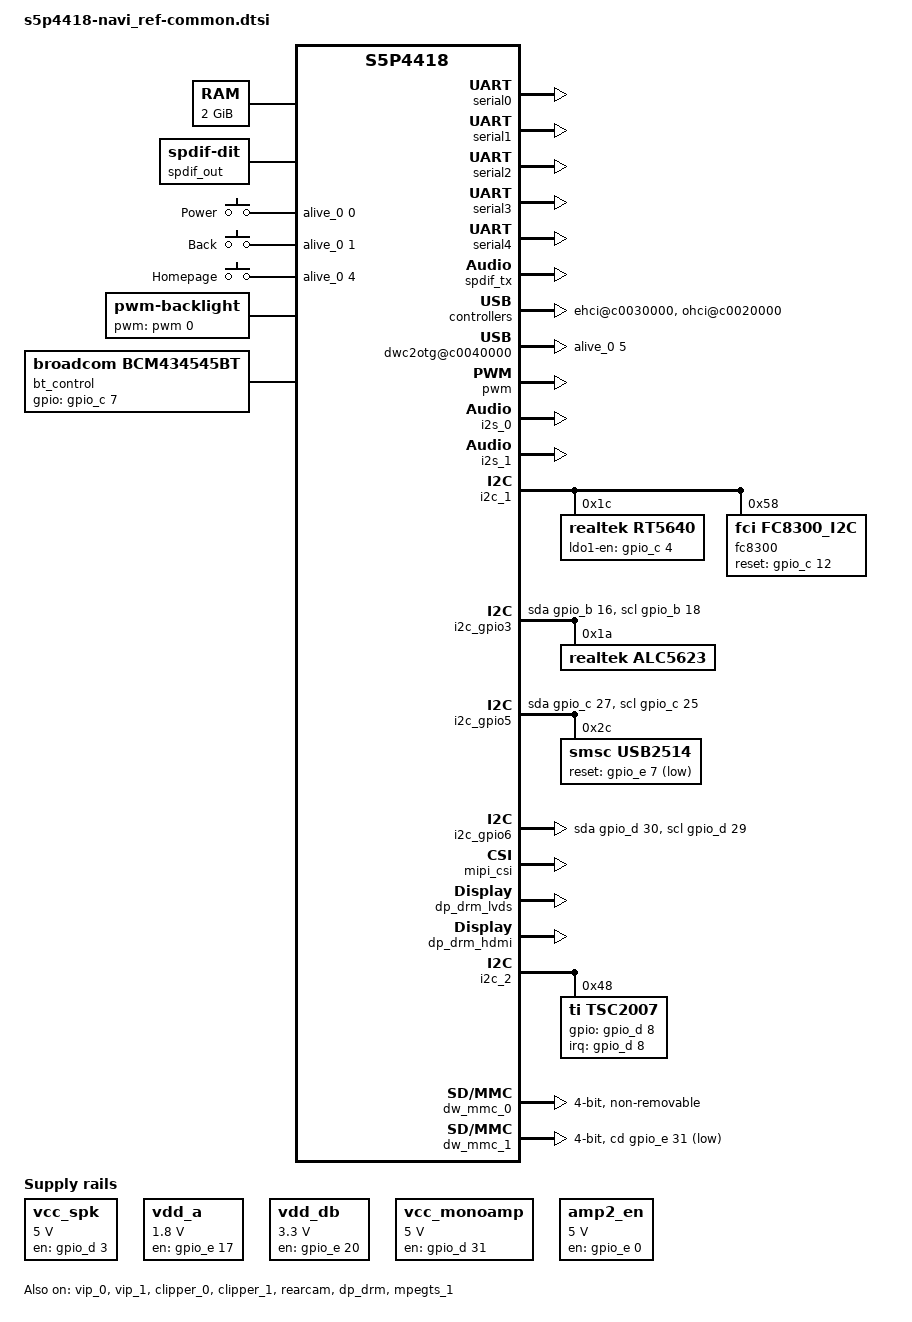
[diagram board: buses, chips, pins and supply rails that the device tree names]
/*
 * Copyright (C) 2016  Nexell Co., Ltd.
 * Author: Youngbok, Park <ybpark@nexell.co.kr>
 *
 * This program is free software; you can redistribute it and/or
 * modify it under the terms of the GNU General Public License
 * as published by the Free Software Foundation; either version 2
 * of the License, or (at your option) any later version.
 *
 * This program is distributed in the hope that it will be useful,
 * but WITHOUT ANY WARRANTY; without even the implied warranty of
 * MERCHANTABILITY or FITNESS FOR A PARTICULAR PURPOSE.  See the
 * GNU General Public License for more details.
 *
 * You should have received a copy of the GNU General Public License
 * along with this program.  If not, see <http://www.gnu.org/licenses/>.
 */

#include <dt-bindings/interrupt-controller/irq.h>
#include <dt-bindings/gpio/gpio.h>
#include <dt-bindings/input/input.h>
#include "nxp4330.dtsi"

/ {
	memory {
		device_type = "memory";
		reg = <0x40000000 0x80000000>;
	};

	psci {
		compatible = "arm,psci-0.2";
		method = "smc";
	};

	aliases {
		i2c3 = &i2c_gpio3;
		i2c5 = &i2c_gpio5;
		i2c6 = &i2c_gpio6;
		i2c7 = &i2c_gpio7;
	};

	nx-v4l2 {
		status = "okay";
	};

	soc {
		#include "s5p4418-pinctrl.dtsi"
		clocks {
			uart3:uart@c00ab000 { clock-frequency = <147500000>; };
			uart1:uart@c00a8000 { clock-frequency = <100000000>; };
			vip0:vip@c00c1000 { clock-frequency = <300000000>; };
			vip1:vip@c00c2000 { src-force = <5>; };
			pwm0:pwm0@c00ba000 {
				clk-input = <I_PLL2>;
				clock-frequency = <10000000>;
			};
			pwm1:pwm1@c00ba000 {
				clk-input = <I_PLL2>;
				clock-frequency = <10000000>;
			};
			pwm2:pwm2@c00be000 {
				clk-input = <I_PLL2>;
				clock-frequency = <10000000>;
			};
			pwm3:pwm3@c00be000 {
				clk-input = <I_PLL2>;
				clock-frequency = <10000000>;
			};
		};

		l2:l2-cache-controller@cf000000 {
			arm,prefetch-offset = <7>;
			prefetch-data = <1>;
			prefetch-instr = <1>;
			arm,tag-latency = <3 4 3>;
			arm,data-latency = <3 4 3>;
		};

		serial0:serial@c00a1000 {
			dmas = <&pl08xdma0 2 0>, <&pl08xdma0 3 0>;
			dma-names = "tx", "rx";
			status ="okay";
		};

		serial1:serial@c00a0000 {
			dmas = <&pl08xdma0 0 0>, <&pl08xdma0 1 0>;
			dma-names = "tx", "rx";
			pinctrl-0 = <&serial1_pin>, <&serial1_flow_cts>,
			    <&serial1_flow_rts>;
			status ="okay";
		};

		serial2:serial@c00a2000 {
			dmas = <&pl08xdma0 4 0>, <&pl08xdma0 5 0>;
			dma-names = "tx", "rx";
			status ="okay";
		};

		serial3:serial@c00a3000 {
			status ="okay";
		};

		serial4:serial@c006d000 {
			status ="okay";
		};

		amba {
			pl08xdma0:pl08xdma@c0000000 {
				use_isr;

				ch12 {
					slave_wait_flush_dma;
				};

				ch13 {
					slave_wait_flush_dma;
				};

				ch14 {
					slave_wait_flush_dma;
				};

				ch15 {
					slave_wait_flush_dma;
				};
			};

			pl08xdma1:pl08xdma@c0001000 {
				use_isr;

				ch0 {
					slave_wait_flush_dma;
				};

				ch1 {
					slave_wait_flush_dma;
				};
			};
		};

		spdif_tx: spdiftx@c0059000 {
			#sound-dai-cells = <1>;
			pcm-bit = <16>;
			sample_rate = <48000>;
			status = "okay";
		};

		watchdog@c0019000 {
			status = "okay";
		};

		rtc@c0010c00 {
			status = "okay";
		};

		nexell_usbphy: nexell-usbphy@c0012000 {
			status = "okay";
		};

		ehci@c0030000 {
			status = "okay";
			port@0 {
				status = "okay";
			};
		};

		ohci@c0020000 {
			status = "okay";
			port@0 {
				status = "okay";
			};
		};

		dwc2otg@c0040000 {
			gpios = <&alive_0 5 0>;
			status = "okay";
		};

		pwm:pwm@c0018000 {
			clock-names = "timers", "pwm-tclk0", "pwm-tclk1";
			clocks =  <&pclk>, <&pwm0>, <&pwm1>;
			pinctrl-names = "default";
			pinctrl-0 = <&pwm0_pin &pwm1_pin>;
			samsung,pwm-outputs = <0>, <1>;
			status = "okay";
		};

		i2s_0:i2s@c0055000 {
			#sound-dai-cells = <1>;
			master-mode = <1>;
			mclk-in = <0>;
			trans-mode = <0>;
			frame-bit = <32>;
			sample-rate = <48000>;
			pre-supply-mclk = <1>;
			status = "okay";
		};

		i2s_1:i2s@c0056000 {
			#sound-dai-cells = <1>;
			master-mode = <1>;
			mclk-in = <0>;
			trans-mode = <0>;
			frame-bit = <32>;
			sample-rate = <48000>;
			pre-supply-mclk = <1>;
			status = "okay";
		};

		pinctrl@C0010000 {
			key_power:key_power {
				nexell,pins = "alive-0";
				nexell,pin-function = <0>;
				nexell,pin-pull = <1>;
				nexell,pin-strength = <0>;
			};

			key_back:key_back {
				nexell,pins = "alive-1";
				nexell,pin-function = <0>;
				nexell,pin-pull = <1>;
				nexell,pin-strength = <0>;
			};

			key_homepage:key_homepage {
				nexell,pins = "alive-4";
				nexell,pin-function = <0>;
				nexell,pin-pull = <1>;
				nexell,pin-strength = <0>;
			};

			toutchpanel_irq: touchpanel-irq {
				nexell,pins = "gpiod-8";
				nexell,pin-function = <0>;
				nexell,pin-pull = <1>;
				nexell,pin-strength = <0>;
			};
			bt_cfg_en:bt_cfg_en {
				nexell,pins = "gpioc-7";
				nexell,pin-function = <1>;
				nexell,pin-pull = <2>;
				nexell,pin-strength = <0>;
			};
		};

		i2c_1:i2c@c00a5000 {
			#address-cells = <1>;
			#size-cells = <0>;
			status = "okay";

			rt5640: rt5640@1c {
				#sound-dai-cells = <0>;
				compatible = "realtek,rt5640";
				reg = <0x1c>;
				realtek,ldo1-en-gpios =
				    <&gpio_c 4 GPIO_ACTIVE_HIGH>;
			};
		};

		scaler@c0066000 {
			status = "okay";
		};
	};	/*** soc ***/

	vcc_spk: regulator-fix@0 {
		compatible = "regulator-fixed";

		regulator-name = "SPK Vcc";
		regulator-min-microvolt = <5000000>;
		regulator-max-microvolt = <5000000>;
		regulator-boot-on;
		regulator-always-on;

		gpio = <&gpio_d 3 GPIO_ACTIVE_HIGH>;
		enable-active-high;
	};

	vdd_a: regulator-fix@1 {
		compatible = "regulator-fixed";

		regulator-name = "A Vdd";
		regulator-min-microvolt = <1800000>;
		regulator-max-microvolt = <1800000>;
		regulator-boot-on;
		regulator-always-on;

		gpio = <&gpio_e 17 GPIO_ACTIVE_HIGH>;
		enable-active-high;
	};

	vdd_db: regulator-fix@2 {
		compatible = "regulator-fixed";

		regulator-name = "DB Vdd";
		regulator-min-microvolt = <3300000>;
		regulator-max-microvolt = <3300000>;
		regulator-boot-on;
		regulator-always-on;

		gpio = <&gpio_e 20 GPIO_ACTIVE_HIGH>;
		enable-active-high;
	};

	vcc_monoamp: regulator-fix@3 {
		compatible = "regulator-fixed";

		regulator-name = "MONOAMP Vcc";
		regulator-min-microvolt = <5000000>;
		regulator-max-microvolt = <5000000>;
		regulator-boot-on;
		regulator-always-on;

		gpio = <&gpio_d 31 GPIO_ACTIVE_HIGH>;
		enable-active-high;
	};

	amp2_en: regulator-fix@4 {
		compatible = "regulator-fixed";

		regulator-name = "AMP2 EN";
		regulator-min-microvolt = <5000000>;
		regulator-max-microvolt = <5000000>;
		regulator-boot-on;
		regulator-always-on;

		gpio = <&gpio_e 0 GPIO_ACTIVE_HIGH>;
		enable-active-high;
	};

	i2c_gpio3: i2c@3 {
		compatible = "i2c-gpio";
		gpios = <&gpio_b 16 0 /* sda */
		    &gpio_b 18 0 /* scl */>;
		i2c-gpio,delay-us = <1>;
		#address-cells = <1>;
		#size-cells = <0>;

		alc5623: alc5623@1a {
			#sound-dai-cells = <0>;
			compatible = "realtek,alc5623";
			reg = <0x1a>;
		};
	};

	i2c_gpio5: i2c@5 {
		compatible = "i2c-gpio";
		gpios = <&gpio_c 27 0 /* sda */
		    &gpio_c 25 0 /* scl */
		    >;
		i2c-gpio,delay-us = <100>;
		#address-cells = <1>;
		#size-cells = <0>;

		usb2514: usb2514@2c {
			compatible = "smsc,usb2514";
			reg = <0x2c>;
			reset-gpios = <&gpio_e 7 1>;
			initial-mode = <1>;
		};
	};

	i2c_gpio6: i2c@6 {
		compatible = "i2c-gpio";
		gpios = <&gpio_d 30 0 /* sda */
		    &gpio_d 29 0 /* scl */
		    >;
		i2c-gpio,delay-us = <100>;
		#address-cells = <1>;
		#size-cells = <0>;
	};

	i2c_gpio7: i2c@7 {
		status = "disabled";
	};

	sound {
		compatible = "simple-audio-card";
		simple-audio-card,name = "s5p4418 navi_ref Audio";
		simple-audio-card,mclk-fs = <256>;
		simple-audio-card,widgets =
		    "Headphone", "Out Jack",
		    "Microphone", "In Jack";
		simple-audio-card,routing =
		    "Out Jack", "HPOL",
		    "Out Jack", "HPOR",
		    "IN2P", "In Jack",
		    "IN2P", "In Jack";
		status = "okay";

		simple-audio-card,dai-link@0 {
		    format = "i2s";
		    cpu {
			sound-dai = <&i2s_0 0>;
		    };

		    codec {
			sound-dai = <&rt5640>;
		    };
		};

		simple-audio-card,dai-link@1 {
		    format = "i2s";
		    cpu {
			sound-dai = <&i2s_1 0>;
		    };

		    codec {
			sound-dai = <&alc5623>;
		    };
		};

		simple-audio-card,dai-link@2 {
		    format = "spdif";
		    cpu {
			sound-dai = <&spdif_tx 0>;
		    };

		    codec {
			sound-dai = <&spdif_out>;
		    };
		};
	};

	spdif_out: spdif-out {
		#sound-dai-cells = <0>;
		compatible = "linux,spdif-dit";
	};

	gpio_key: gpio_keys {
		compatible = "gpio-keys";
		#address-cells = <1>;
		#size-cells = <0>;
		pinctrl-names = "default";
		pinctrl-0 = <&key_power &key_back &key_homepage>;

		power {
			label = "Power";
			gpios = <&alive_0 0 0>;
			linux,code = <KEY_POWER>;
			gpio-key,wakeup;
		};

		back {
			label = "Back";
			gpios = <&alive_0 1 0>;
			linux,code = <KEY_BACK>;
		};

		homepage {
			label = "Homepage";
			gpios = <&alive_0 4 0>;
			linux,code = <KEY_HOMEPAGE>;
		};
	};

	nexell-ion@0 {
		compatible = "nexell,ion";

		heap_sys_user@0 {
			heap-type = "ion_system";
		};

		heap_sys_contig@0 {
			heap-type = "ion_system_contig";
		};

		heap_dma@0 {
			heap-type = "ion_dma";
		};
	};

	backlight: pwm-backlight {
		compatible = "pwm-backlight";
		pwms = <&pwm 0 20000 1>;
		pwm-names = "pwm-backlight";

		brightness-levels = <30 31 32 33 34 35 36 37 38 39
				     40 41 42 43 44 45 46 47 48 49
				     50 51 52 53 54 55 56 57 58 59
				     60 61 62 63 64 65 66 67 68 69
				     70 71 72 73 74 75 76 77 78 79
				     80 81 82 83 84 85 86 87 88 89
				     90>;
		default-brightness-level = <45>;
		status = "okay";
	};

	bt_control {
		compatible = "broadcom,bcm434545bt";
		gpios = <&gpio_c 7 0>;   /* GPIOC7 = BT_EN, output */
		pinctrl-names = "default";
		pinctrl-0 = <&bt_cfg_en>;
		status = "okay";
	};
};

&vip_0 {
	status = "okay";
};

&vip_1 {
	status = "okay";
};

&mipi_csi {
	data_lane = <2>;
	pllval = <750>;
	hssettle = <7>;
	status = "okay";
};

&clipper_0 {
	interface_type = <NX_CAPTURE_INTERFACE_MIPI_CSI>;
	gpios = <&gpio_b 23 0>;
	data_order = <NX_VIN_CBY0CRY1>;
	port = <1>;
	external_sync = <1>;
	interlace = <0>;
	status = "okay";

	sensor {
		type = <NX_CAPTURE_SENSOR_I2C>;
		i2c_name = "tw9992";
		i2c_adapter = <3>;
		addr = <0x3d>;
	};

	power {
		enable_seq = <
		NX_ACTION_START NX_ACTION_TYPE_GPIO 0 1 1 0 10 1 10 NX_ACTION_END
		>;

		disable_seq = <
		NX_ACTION_START NX_ACTION_TYPE_GPIO 0 0 1 NX_ACTION_END
		>;
	};
};

&clipper_1 {
	interface_type = <NX_CAPTURE_INTERFACE_PARALLEL>;
	pinctrl-names = "default";
	pinctrl-0 = <&vid2_data_clk>;
	gpios = <&gpio_c 9 0 &gpio_e 16 0 &gpio_e 12 0>;
	data_order = <NX_VIN_CBY0CRY1>;
	port = <1>;
	external_sync = <0>;
	interlace = <1>;
	status = "okay";

	sensor {
		type = <NX_CAPTURE_SENSOR_I2C>;
		i2c_name = "tw9900";
		i2c_adapter = <5>;
		addr = <0x44>;
	};

	power {
		enable_seq = <
		NX_ACTION_START NX_ACTION_TYPE_GPIO 2 0 1 0 10 NX_ACTION_END
		NX_ACTION_START NX_ACTION_TYPE_GPIO 1 0 1 0 10 NX_ACTION_END
		NX_ACTION_START NX_ACTION_TYPE_GPIO 0 1 10 NX_ACTION_END
		>;
	};
};

#include "tw9900_rearcam_regset.dtsi"
&rearcam {
	pinctrl-names = "rear_cam_clk";
	pinctrl-0 = <&vid2_data_clk>;
	rotation = <0>;
	rear_cam_dev = <&clipper_1>;
	sensor_reg = <&sensor_tw9900>;
	display = <&dp_drm>;
	dp_drm_dev = <&dp_drm_lvds>;
	width = <704>;
	height = <480>;
	skip_frame = <0>;
	status = "okay";

	gpio {
		event-gpio = <&alive_0 3 0>;
		active_high = <0>;
		detect_delay = <0>;
	};

	deinterlace {
		use = <0>;
		divide_frame = <0>;
		is_odd_first = <1>;
	};

	mlc {
		module = <0>;
		format = <0x06530000>;
	};

	dpc {
		module = <0>;
	};
};

&dp_drm {
	status = "okay";
	ports {
		port@0 {
			reg = <0>;
			back_color = < 0x0 >;
			color_key = < 0x0 >;
			plane-names = "rgb", "primary", "video";
		};
		port@1 {
			reg = <1>;
			back_color = < 0x0 >;
			color_key = < 0x0 >;
			plane-names = "primary", "video";
		};
	};
};

&dp_drm_lvds {
	status = "ok";

	display-timing {
		clock-frequency = <50000000>;
		hactive = <1024>;
		vactive = <600>;
		hfront-porch = <160>;
		hback-porch = <140>;
		hsync-len = <20>;
		vfront-porch = <12>;
		vback-porch = <20>;
		vsync-len = <3>;
	};

	dp_control {
		clk_src_lv0 = <3>;
		clk_div_lv0 = <16>;
		clk_src_lv1 = <7>;
		clk_div_lv1 = <1>;
		out_format = <2>;
	};
};

&dp_drm_hdmi {
	ddc-i2c-bus = <&i2c_gpio6>;
	skip-boot-connect;
	status = "ok";
};

&i2c_1 {
	fc8300: fc8300@58 {
		compatible = "fci,fc8300_i2c";
		reset-gpios = <&gpio_c 12 0>;
		reg = <0x58>;
	};
};

&i2c_2 {
	#address-cells = <1>;
	#size-cells = <0>;
	status = "okay";
	rate = <400000>;

	tsc2007: tsc2007@48 {
		compatible = "ti,tsc2007";
		gpios = <&gpio_d 8 0>;
		interrupt-parent = <&gpio_d>;
		interrupts = <8 IRQ_TYPE_EDGE_FALLING>;
		pinctrl-names = "default";
		pinctrl-0 = <&toutchpanel_irq>;
		reg = <0x48>;
		ti,x-plate-ohms = <180>;
	};
};

&dw_mmc_0 {
	num-slots = <1>;
	bus-width = <4>;
	cap-mmc-highspeed;
	broken-cd;
	non-removable;
	clock-frequency = <100000000>;
	card-detect-delay = <200>;
	disable-wp;
	nexell,drive_dly = <0x0>;
	nexell,drive_shift = <0x02>;
	nexell,sample_dly = <0x00>;
	nexell,sample_shift = <0x01>;
	status = "okay";
};

&dw_mmc_1 {
	num-slots = <1>;
	bus-width = <4>;
	cap-sd-highspeed;
	clock-frequency = <100000000>;
	card-detect-delay = <200>;
	disable-wp;
	cd-gpios = <&gpio_e 31 0>;
	cd-inverted;
	nexell,drive_dly = <0x0>;
	nexell,drive_shift = <0x02>;
	nexell,sample_dly = <0x00>;
	nexell,sample_shift = <0x01>;
	status = "okay";
};

&mpegts_1 {
	status = "ok";
	pinctrl-names = "default";
	pinctrl-0 = <&mpegts_cap1_sync &mpegts_cap1_data_clk_serial>;
	gpios = <&gpio_a 23 0>;
	serial_mode = <1>;
	clock_pol = <1>;
	valid_pol = <1>;
	sync_pol = <1>;
	err_pol = <1>;
	bypass = <1>;
	xfer_mode = <0>;
	xfer_clk_pol = <0>;
	encrypt_on = <0>;

	power {
		enable_seq = <
		NX_ACTION_START NX_ACTION_TYPE_GPIO 0 1 1 0 1 1 1 NX_ACTION_END
		>;
	};
};
